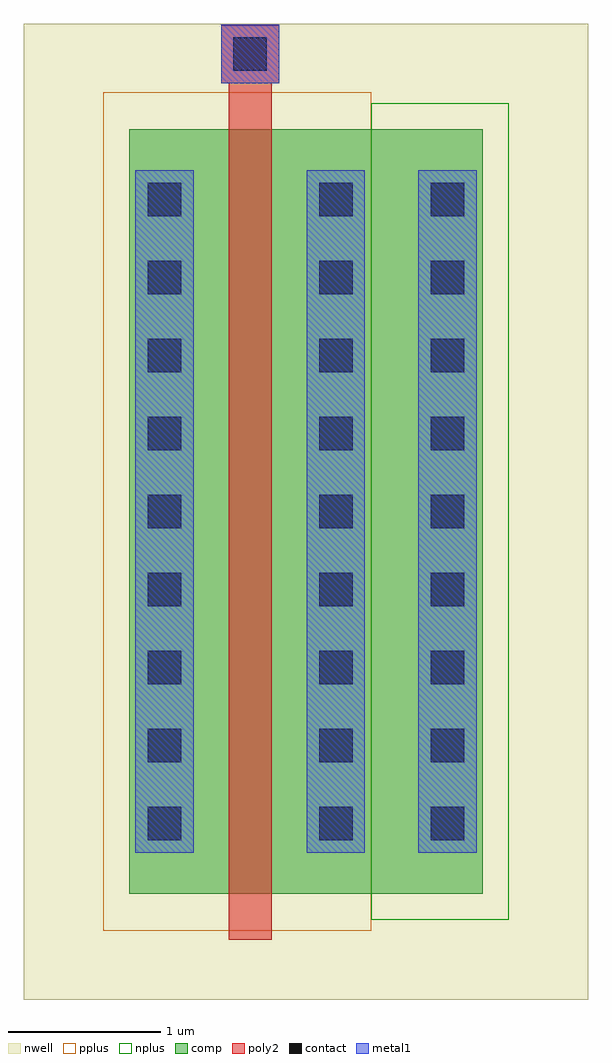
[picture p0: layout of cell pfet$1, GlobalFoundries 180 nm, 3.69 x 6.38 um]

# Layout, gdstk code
import gdstk
lib = gdstk.Library(unit=1e-6, precision=1e-09)
def R(c, l, rs):  # rectangles x0, y0, x1, y1
    for r in rs: c.add(gdstk.rectangle(r[:2], r[2:], *l))
def A(c, l, x, y, w, h, nx, ny, dx, dy):  # array of equal rectangles
    R(c, l, [(x+i*dx, y+j*dy, x+i*dx+w, y+j*dy+h) for i in range(nx) for j in range(ny)])
nwell = (21, 0)
comp = (22, 0)
poly2 = (30, 0)
pplus = (31, 0)
nplus = (32, 0)
contact = (33, 0)
metal1 = (34, 0)

pfet_1 = lib.new_cell('pfet$1')
R(pfet_1, nwell, [(-1.15,-0.69,2.54,5.69)])
R(pfet_1, comp, [(-0.46,0,0,5), (0,0,0.66,5), (0.66,0,1.12,5), (1.12,0,1.85,5)])
R(pfet_1, poly2, [(0.19,-0.3,0.47,5.3), (0.14,5.3,0.52,5.68)])
R(pfet_1, pplus, [(-0.63,-0.24,1.12,5.24)])
R(pfet_1, nplus, [(1.12,-0.17,2.02,5.17)])
A(pfet_1, contact, -0.34, 0.35, 0.22, 0.22, 1, 9, 0, 0.51)
A(pfet_1, contact, 0.78, 0.35, 0.22, 0.22, 1, 9, 0, 0.51)
A(pfet_1, contact, 1.51, 0.35, 0.22, 0.22, 1, 9, 0, 0.51)
R(pfet_1, contact, [(0.22,5.38,0.44,5.6)])
R(pfet_1, metal1, [(-0.42,0.27,-0.04,4.73), (0.7,0.27,1.08,4.73), (1.43,0.27,1.81,4.73), (0.14,5.299,0.52,5.681)])

lib.write_gds('pfet_1.gds')
